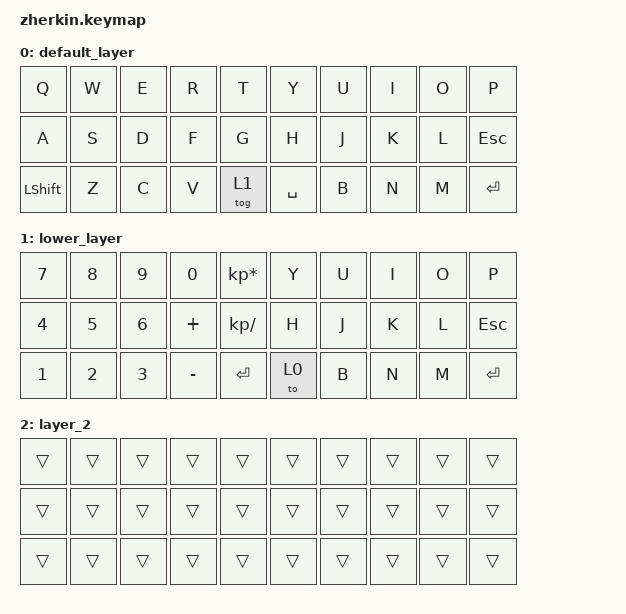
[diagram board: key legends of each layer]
#include <behaviors.dtsi>
#include <dt-bindings/zmk/keys.h>
#include <dt-bindings/zmk/bt.h>
#include <dt-bindings/zmk/outputs.h>


#define DEFAULT 0
#define LOWER 1

/ {
    keymap {
        compatible = "zmk,keymap";

        default_layer {
            // --------------------------------------------------------------------------------------------------------------------------------------------------------------------
            // |   ESC   |    Q    |    W    |    E    |    R    |    T    |                                          |    Y    |    U    |    I    |    O    |    P    |    \    |
            // |   TAB   |    A    |    S    |    D    |    F    |    G    |                                          |    H    |    J    |    K    |    L    |    ;    |    '    |
            // |  SHIFT  |    Z    |    X    |    C    |    V    |    B    | CTRL+A  | CTRL+C  |  |  CTRL+V |  CTRL+X |    N    |    M    |    ,    |    .    |    /    |  R CTRL |
            //                               |   GUI   |   DEL   | RETURN  |  SPACE  | ESCAPE  |  |  RETURN |  SPACE  |   TAB   |   BSPC  |  R ALT  |

            bindings = <
&kp Q      &kp W  &kp E  &kp R  &kp T  &kp Y      &kp U  &kp I  &kp O  &kp P
&kp A      &kp S  &kp D  &kp F  &kp G  &kp H      &kp J  &kp K  &kp L  &kp ESC
&kp LSHFT  &kp Z  &kp C  &kp V  &tog 1  &kp SPACE  &kp B  &kp N  &kp M  &kp RET
            >;
        };

        lower_layer {
            // --------------------------------------------------------------------------------------------------------------------------------------------------------------------
            // |   ESC   |    Q    |    W    |    E    |    R    |    T    |                                          |    Y    |    U    |    I    |    O    |    P    |    \    |
            // |   TAB   |    A    |    S    |    D    |    F    |    G    |                                          |    H    |    J    |    K    |    L    |    ;    |    '    |
            // |  SHIFT  |    Z    |    X    |    C    |    V    |    B    | CTRL+A  | CTRL+C  |  |  CTRL+V |  CTRL+X |    N    |    M    |    ,    |    .    |    /    |  R CTRL |
            //                               |   GUI   |   DEL   | RETURN  |  SPACE  | ESCAPE  |  |  RETURN |  SPACE  |   TAB   |   BSPC  |  R ALT  |

            bindings = <
&kp NUMBER_7  &kp N8        &kp NUMBER_9  &kp NUMBER_0  &kp KP_MULTIPLY  &kp Y  &kp U  &kp I  &kp O  &kp P
&kp NUMBER_4  &kp N5        &kp NUMBER_6  &kp PLUS      &kp KP_DIVIDE    &kp H  &kp J  &kp K  &kp L  &kp ESC
&kp NUMBER_1  &kp NUMBER_2  &kp NUMBER_3  &kp MINUS     &kp RET          &to 0  &kp B  &kp N  &kp M  &kp RET
            >;
        };

        layer_2 {
            bindings = <
&trans  &trans  &trans  &trans  &trans  &trans  &trans  &trans  &trans  &trans
&trans  &trans  &trans  &trans  &trans  &trans  &trans  &trans  &trans  &trans
&trans  &trans  &trans  &trans  &trans  &trans  &trans  &trans  &trans  &trans
            >;
        };
    };
